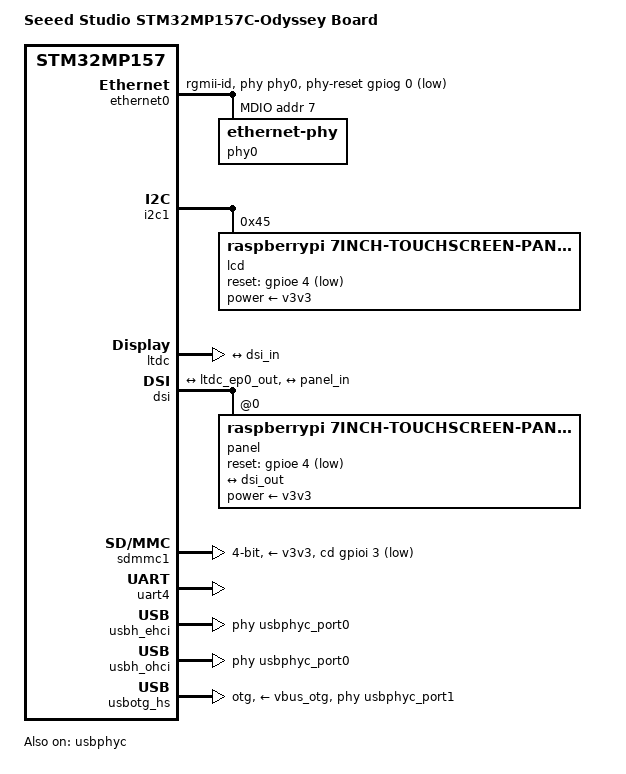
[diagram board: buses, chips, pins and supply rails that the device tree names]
// SPDX-License-Identifier: (GPL-2.0+ OR BSD-3-Clause)
/*
 * Copyright (C) 2020 Marcin Sloniewski <marcin.sloniewski@gmail.com>.
 */

/dts-v1/;

#include "stm32mp157c-odyssey-som.dtsi"
#include "stm32mp157c-odyssey-scmi.dtsi"

/ {
	model = "Seeed Studio STM32MP157C-Odyssey Board";
	compatible = "seeed,stm32mp157c-odyssey",
		     "seeed,stm32mp157c-odyssey-som", "st,stm32mp157";

	aliases {
		ethernet0 = &ethernet0;
		serial0 = &uart4;
		i2c1	= &i2c4;	/* RPi compatible */
	};

	chosen {
		stdout-path = "serial0:115200n8";
	};
};

&dcmi {
	pinctrl-names = "default", "sleep";
	pinctrl-0 = <&dcmi_pins_b>;
	pinctrl-1 = <&dcmi_sleep_pins_b>;
};

&ethernet0 {
	status = "okay";
	pinctrl-0 = <&ethernet0_rgmii_pins_a>;
	pinctrl-1 = <&ethernet0_rgmii_sleep_pins_a>;
	pinctrl-names = "default", "sleep";
	phy-mode = "rgmii-id";
	max-speed = <1000>;
	phy-handle = <&phy0>;
	assigned-clocks = <&rcc ETHCK_K>, <&rcc PLL4_P>;
	assigned-clock-parents = <&rcc PLL4_P>;
	assigned-clock-rates = <125000000>; /* Clock PLL4 to 750Mhz in ATF/U-Boot */
	phy-reset-gpios = <&gpiog 0 GPIO_ACTIVE_LOW>;
	st,eth-clk-sel;

	mdio {
		#address-cells = <1>;
		#size-cells = <0>;
		compatible = "snps,dwmac-mdio";
		phy0: ethernet-phy@7 { /* KSZ9031RN */
			reg = <7>;
#if 0
			reset-gpios = <&gpiog 0 GPIO_ACTIVE_LOW>; /* ETH_RST# */
			reset-assert-us = <10000>;
			reset-deassert-us = <300>;
#endif

			/*
			 * These skews assume the STM32MP1 has no internal delay.
			 *
			 * All skews are offset since hardware skew values for the ksz9031
			 * range from a negative skew to a positive skew.
			 * See the micrel-ksz90x1.txt Documentation file for details.
			 */
			/* REG 0x0008, 5 bits per skew */
			txc-skew-ps  = <1800>;/*  900ps */
			rxc-skew-ps  = <1320>;/*  420ps */

			/* REG 0x0004, 4 bits per skew */
			txen-skew-ps = <420>;  /*   0ps */
			rxdv-skew-ps = <420>; /*    0ps */

			/* REG 0x0005, 4 bits per skew */
			rxd0-skew-ps = <720>; /*  300ps */
			rxd1-skew-ps = <780>; /*  360ps */
			rxd2-skew-ps = <840>; /*  420ps */
			rxd3-skew-ps = <900>; /*  480ps */

			/* REG 0x0006, 4 bits per skew */
			txd0-skew-ps = <0>;   /* -420ps */
			txd1-skew-ps = <60>;  /* -360ps */
			txd2-skew-ps = <120>; /* -300ps */
			txd3-skew-ps = <180>; /* -240ps */

			micrel,force-master;
		};
	};
};

&i2c1 {
	pinctrl-names = "default", "sleep";
#if 0
	pinctrl-0 = <&i2c1_pins_a>;
	pinctrl-1 = <&i2c1_sleep_pins_a>;
#endif
	pinctrl-0 = <&i2c1_pins_b>;
	pinctrl-1 = <&i2c1_sleep_pins_b>;
	i2c-scl-rising-time-ns = <100>;
	i2c-scl-falling-time-ns = <7>;
	status = "okay";
	/delete-property/dmas;
	/delete-property/dma-names;

	lcd@45 {
		compatible = "raspberrypi,7inch-touchscreen-panel";
		reg = <0x45>;
		reset-gpios = <&gpioe 4 GPIO_ACTIVE_LOW>;
		power-supply= <&v3v3>;
		status = "okay";
	};
};

&ltdc {
	status = "okay";

	port {
		#address-cells = <1>;
		#size-cells = <0>;

		ltdc_ep0_out: endpoint@0 {
			reg = <0>;
			remote-endpoint = <&dsi_in>;
		};

	};
};

&dsi {
	status = "okay";

	ports {
		#address-cells = <1>;
		#size-cells = <0>;

		port@0 {
			reg = <0>;
			dsi_in: endpoint {
				remote-endpoint = <&ltdc_ep0_out>;
			};
		};

		port@1 {
			reg = <1>;
			dsi_out: endpoint {
				remote-endpoint = <&panel_in>;
			};
		};
	};

	panel@0 {
		compatible = "raspberrypi,7inch-touchscreen-panel";
		reg = <0>;
		reset-gpios = <&gpioe 4 GPIO_ACTIVE_LOW>;
		power-supply= <&v3v3>;
		status = "okay";

		port {
			panel_in: endpoint {
				remote-endpoint = <&dsi_out>;
			};
		};
	};
};

&sdmmc1 {
	pinctrl-names = "default", "opendrain", "sleep";
	pinctrl-0 = <&sdmmc1_b4_pins_a>;
	pinctrl-1 = <&sdmmc1_b4_od_pins_a>;
	pinctrl-2 = <&sdmmc1_b4_sleep_pins_a>;
	cd-gpios = <&gpioi 3 (GPIO_ACTIVE_LOW | GPIO_PULL_UP)>;
	disable-wp;
	st,neg-edge;
	bus-width = <4>;
	vmmc-supply = <&v3v3>;
	status = "okay";
};

&uart4 {
	pinctrl-names = "default";
	pinctrl-0 = <&uart4_pins_a>;
	/delete-property/dmas;
	/delete-property/dma-names;
	status = "okay";
};

&usbh_ehci {
	phys = <&usbphyc_port0>;
	status = "okay";
};

&usbh_ohci{
	status = "okay";
	phys = <&usbphyc_port0>;
};

&usbotg_hs {
    dr_mode = "otg";
    pinctrl-0 = <&usbotg_hs_pins_a>;
    pinctrl-names = "default";
    phy-names = "usb2-phy";
    phys = <&usbphyc_port1 0>;
    vbus-supply = <&vbus_otg>;
    status = "okay";
};

&usbphyc {
	status = "okay";
};

&usbphyc_port0 {
	phy-supply = <&vdd_usb>;
	st,phy-tuning = <&usb_phy_tuning>;
};

&usbphyc_port1 {
    phy-supply = <&vdd_usb>;
    st,phy-tuning = <&usb_phy_tuning>;
};
